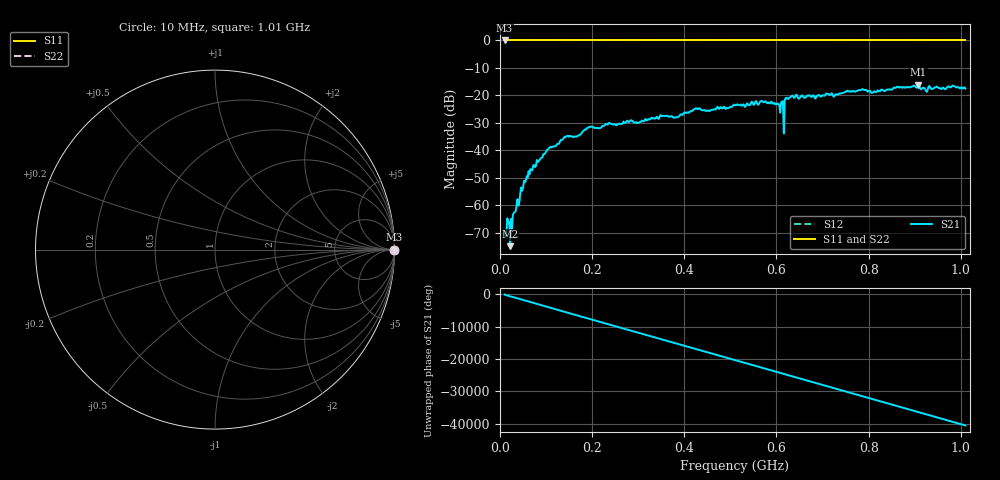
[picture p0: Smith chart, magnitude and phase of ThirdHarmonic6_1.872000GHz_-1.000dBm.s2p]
! 8/16/2025 10:37:44 PM
! C:\ANRITSUVNA\TEMP\TEMP.S2P
! CHANNEL.1
! TR.MEASUREMENT
! RAW.DATA
! RF.CORRECTION.OFF
! AVERAGING.OFF
! IF.BANDWIDTH: 5KHZ
! SWEEPTYPE:  FREQ.SWEEP(Linear)
! Reference Plane Port Info
! PORT:  PORT1  PORT2
! DISTANCE:  0  m  0  m
! TIME:  0  s  0  s
! PHASE.OFFSET:  0  deg.  0  deg.
! LOSS:  0  dB  0  dB
! REF.LOSS:  0  dB  0  dB
! REF.FREQ:  0  Hz  0  Hz
! Power Info
! POWER:  -20  dBm  -20  dBm
! EFF.POWER:  -20  dBm  -20  dBm
! SOURCE.ATTEN:  0  dB  0  dB
! TEST.ATTEN:  0  dB  0  dB
# GHZ S RI R 50.0
! FREQ.GHZ  S11RE  S11IM  S21RE  S21IM  S12RE  S12IM  S22RE  S22IM
!; PortSelection: Port_12
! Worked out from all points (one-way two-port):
!   501 points, 10 MHz to 1.01 GHz, reference 50 ohm
!   highest |S21| = -16.04 dB at 908 MHz (marker M1); lowest = -74.9 dB at 22 MHz (marker M2)
!   lowest |S11| = 0.0 dB at 10 MHz (marker M3)
!   |S11| at or under -10 dB: nowhere
!   |S22| runs from 0.0 to 0.0 dB; largest |S21 - S12| = 1.1
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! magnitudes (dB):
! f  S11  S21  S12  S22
! 10 MHz  0.0  -70.5  0.0  0.0
! 16 MHz  0.0  -64.8  0.0  0.0
! 22 MHz  0.0  -74.9  0.0  0.0
! 48 MHz  0.0  -54.7  0.0  0.0
! 70 MHz  0.0  -47.4  0.0  0.0
! 106 MHz  0.0  -39.3  0.0  0.0
! 144 MHz  0.0  -34.9  0.0  0.0
! 178 MHz  0.0  -33.5  0.0  0.0
! 196 MHz  0.0  -31.5  0.0  0.0
! 344 MHz  0.0  -28.6  0.0  0.0
! 382 MHz  0.0  -27.9  0.0  0.0
! 510 MHz  0.0  -23.5  0.0  0.0
! 572 MHz  0.0  -22.5  0.0  0.0
! 610 MHz  0.0  -22.6  0.0  0.0
! 612 MHz  0.0  -22.2  0.0  0.0
! 620 MHz  0.0  -21.0  0.0  0.0
! 622 MHz  0.0  -20.9  0.0  0.0
! 624 MHz  0.0  -21.3  0.0  0.0
! 678 MHz  0.0  -20.4  0.0  0.0
! 844 MHz  0.0  -17.9  0.0  0.0
! 908 MHz  0.0  -16.0  0.0  0.0
! 1.01 GHz  0.0  -17.6  0.0  0.0
